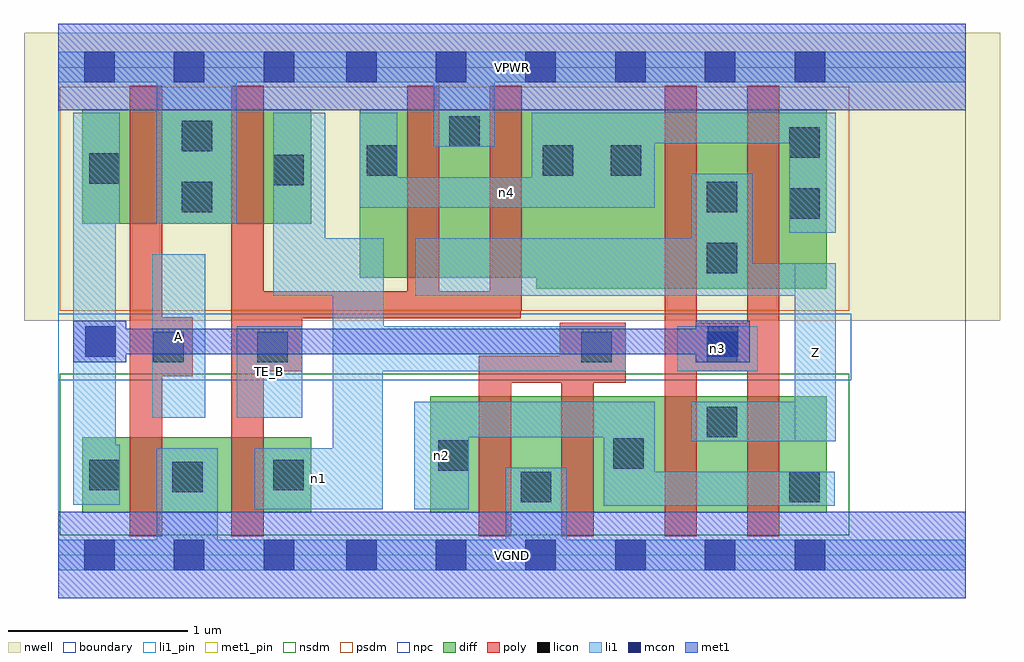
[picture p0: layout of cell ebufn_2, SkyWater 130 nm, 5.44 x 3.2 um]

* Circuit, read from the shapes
.subckt ebufn_2 A TE_B VGND VPWR Z n1 n2 n3 n4
XM1 VGND A n3 VSUBS sky130_fd_pr__nfet_01v8 w=0.42 l=0.18
XM2 n1 TE_B VGND VSUBS sky130_fd_pr__nfet_01v8 w=0.42 l=0.18
XM3 VGND n1 n2 VSUBS sky130_fd_pr__nfet_01v8 w=0.65 l=0.18 m=2
XM4 Z n3 n2 VSUBS sky130_fd_pr__nfet_01v8 w=0.65 l=0.18 m=2
XM5 VPWR A n3 n5 sky130_fd_pr__pfet_01v8 w=0.64 l=0.18
XM6 n1 TE_B VPWR n5 sky130_fd_pr__pfet_01v8 w=0.64 l=0.18
XM7 VPWR TE_B n4 n5 sky130_fd_pr__pfet_01v8 w=0.94 l=0.18 m=2
XM8 Z n3 n4 n5 sky130_fd_pr__pfet_01v8 w=1 l=0.18 m=2
.ends

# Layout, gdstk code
import gdstk
lib = gdstk.Library(unit=1e-6, precision=1e-09)
def R(c, l, rs):  # rectangles x0, y0, x1, y1
    for r in rs: c.add(gdstk.rectangle(r[:2], r[2:], *l))
def A(c, l, x, y, w, h, nx, ny, dx, dy):  # array of equal rectangles
    R(c, l, [(x+i*dx, y+j*dy, x+i*dx+w, y+j*dy+h) for i in range(nx) for j in range(ny)])
nwell = (64, 20)
diff = (65, 20)
poly = (66, 20)
licon = (66, 44)
li1_pin = (67, 16)
li1 = (67, 20)
mcon = (67, 44)
met1_pin = (68, 16)
met1 = (68, 20)
nsdm = (93, 44)
psdm = (94, 20)
npc = (95, 20)
boundary = (235, 4)

ebufn_2 = lib.new_cell('ebufn_2')
R(ebufn_2, nwell, [(-0.19,1.305,5.25,2.91), (0,1.305,5.06,2.91)])
R(ebufn_2, diff, [(0.135,0.235,1.41,0.655), (2.075,0.235,4.285,0.885), (2.665,1.485,4.285,2.485), (1.68,1.545,4.285,2.485), (0.135,1.845,1.41,2.485)])
R(ebufn_2, poly, [(0.4,0.105,0.58,2.615), (0.965,0.105,1.145,2.615), (2.345,0.105,2.525,1.11), (2.805,0.105,2.985,1.295), (3.38,0.105,3.56,2.615), (3.84,0.105,4.02,2.615), (2.345,0.96,3.165,1.11), (2.795,0.96,3.165,1.295), (0.4,0.995,0.75,1.325), (0.965,1.025,1.36,1.47), (3.38,1.025,4.02,1.295), (0.965,1.32,2.58,1.47), (1.945,1.32,2.125,2.615), (2.405,1.36,2.585,2.615)])
R(ebufn_2, licon, [(2.58,0.295,2.75,0.465), (4.075,0.295,4.245,0.465), (0.635,0.35,0.805,0.52), (0.175,0.36,0.345,0.53), (1.2,0.36,1.37,0.53), (2.12,0.47,2.29,0.64), (3.095,0.48,3.265,0.65), (3.615,0.655,3.785,0.825), (0.53,1.075,0.7,1.245), (1.11,1.075,1.28,1.245), (2.915,1.075,3.085,1.245), (3.615,1.075,3.785,1.245), (3.615,1.57,3.785,1.74), (4.075,1.875,4.245,2.045), (0.69,1.91,0.86,2.08), (3.615,1.91,3.785,2.08), (1.2,2.06,1.37,2.23), (0.175,2.07,0.345,2.24), (1.72,2.115,1.89,2.285), (2.7,2.115,2.87,2.285), (3.08,2.115,3.25,2.285), (4.075,2.215,4.245,2.385), (0.69,2.25,0.86,2.42), (2.18,2.275,2.35,2.445)])
R(ebufn_2, li1_pin, [(4.105,0.635,4.335,1.625), (0.525,0.765,0.82,1.675), (0.995,0.765,1.36,1.275)])
R(ebufn_2, li1, [(0,-0.085,5.06,0.085), (0.55,-0.085,0.89,0.595), (2.495,-0.085,2.835,0.485), (1.095,0.255,1.81,0.595), (1.53,0.255,1.81,1.765), (1.985,0.255,2.29,0.855), (3.04,0.275,4.33,0.465), (3.04,0.275,3.325,0.855), (0.085,0.28,0.32,2.465), (0.085,0.28,0.345,0.615), (3.53,0.635,4.335,0.855), (4.105,0.635,4.335,1.625), (1.985,0.655,3.325,0.855), (0.525,0.765,0.82,1.675), (0.995,0.765,1.36,1.275), (1.53,1.025,3.165,1.275), (1.53,1.025,1.815,1.765), (3.45,1.025,3.9,1.275), (1.2,1.445,1.49,2.465), (1.2,1.445,1.815,1.765), (1.99,1.445,3.87,1.765), (1.99,1.445,4.335,1.625), (3.53,1.445,3.87,2.125), (4.075,1.795,4.335,2.465), (0.085,1.845,0.345,2.465), (0.55,1.845,0.995,2.805), (1.68,1.935,3.325,2.105), (1.68,1.935,1.89,2.465), (2.64,1.935,3.325,2.465), (2.095,2.275,2.435,2.805), (2.64,2.295,4.335,2.465), (0,2.635,5.06,2.805)])
A(ebufn_2, mcon, 0.145, -0.085, 0.17, 0.17, 3, 2, 0.5, 2.72)
A(ebufn_2, mcon, 1.605, -0.085, 0.17, 0.17, 6, 2, 0.5, 2.72)
R(ebufn_2, mcon, [(0.15,1.105,0.32,1.275), (3.62,1.105,3.79,1.275)])
R(ebufn_2, met1_pin, [(0,-0.24,5.06,0.24), (0,2.48,5.06,2.96)])
R(ebufn_2, met1, [(0,-0.24,5.06,0.24), (0.085,1.075,0.38,1.305), (3.555,1.075,3.855,1.305), (0.085,1.12,3.855,1.26), (0,2.48,5.06,2.96)])
R(ebufn_2, nsdm, [(0.01,0.11,4.41,1.01)])
R(ebufn_2, psdm, [(0.01,1.36,4.41,2.61)])
R(ebufn_2, npc, [(0,0.975,4.42,1.345)])
R(ebufn_2, boundary, [(0,0,5.06,2.72)])
ebufn_2.add(gdstk.Label('A', (0.672,1.22), layer=67, texttype=5))
ebufn_2.add(gdstk.Label('TE_B', (1.177,1.02), layer=67, texttype=5))
ebufn_2.add(gdstk.Label('Z', (4.22,1.13), layer=67, texttype=5))
ebufn_2.add(gdstk.Label('n2', (2.137,0.555), layer=67, texttype=5))
ebufn_2.add(gdstk.Label('n3', (3.675,1.15), layer=67, texttype=5))
ebufn_2.add(gdstk.Label('n1', (1.452,0.425), layer=67, texttype=5))
ebufn_2.add(gdstk.Label('n4', (2.502,2.02), layer=67, texttype=5))
ebufn_2.add(gdstk.Label('VPWR', (2.53,2.72), layer=68, texttype=5))
ebufn_2.add(gdstk.Label('VGND', (2.53,0), layer=68, texttype=5))
ebufn_2.add(gdstk.Label('A', (0.672,1.22), layer=67, texttype=16))
ebufn_2.add(gdstk.Label('TE_B', (1.177,1.02), layer=67, texttype=16))
ebufn_2.add(gdstk.Label('Z', (4.22,1.13), layer=67, texttype=16))
ebufn_2.add(gdstk.Label('VPWR', (2.53,2.72), layer=68, texttype=16))
ebufn_2.add(gdstk.Label('VGND', (2.53,0), layer=68, texttype=16))

lib.write_gds('ebufn_2.gds')
